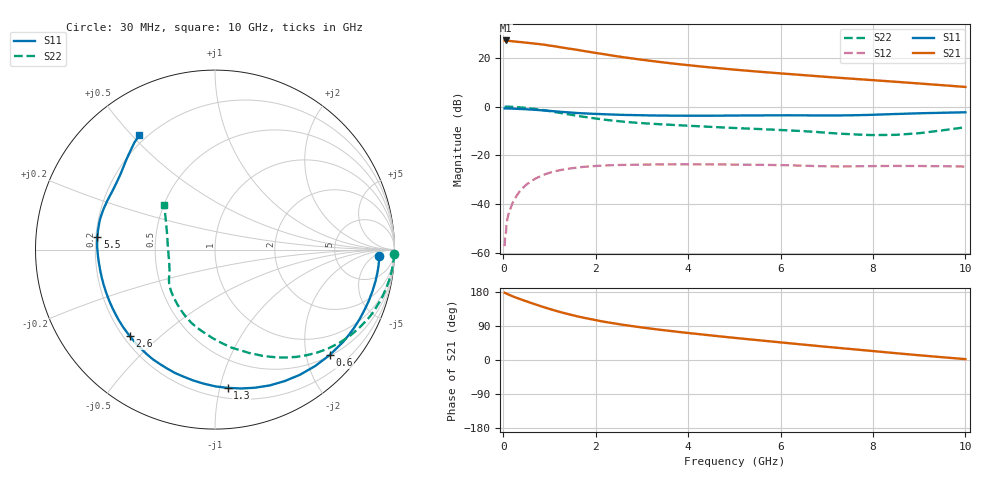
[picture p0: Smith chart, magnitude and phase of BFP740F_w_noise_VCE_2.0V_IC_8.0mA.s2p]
! Infineon Technologies  Discrete & RF Semiconductors
! BFP740F
! VCE =  2.0 V,  IC =  8.0 mA
! Common Emitter S-Parameters:  Oct 2012
# GHz  S  MA  R  50
!  f  S11  S21  S12  S22
! GHz  MAG  ANG  MAG  ANG  MAG  ANG  MAG  ANG
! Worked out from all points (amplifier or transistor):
!   99 points, 30 MHz to 10 GHz, reference 50 ohm
!   highest |S21| = 27.0 dB at 50 MHz (marker M1)
!   |S21| within 3 dB of that: start of sweep to 1.317 GHz
!   unconditionally stable (mu >= 1): 6.911 GHz to end of sweep
!   at 350 MHz: K = 0.07, MSG = 30.6 dB, |S12| = -34.8 dB
!   at 3.5 GHz: K = 0.43, MSG = 20.8 dB, |S12| = -23.7 dB
!   at 10 GHz: K = 1.30, MAG = 13.0 dB, |S12| = -24.5 dB
!   lowest NFmin = 0.42 dB at 450 MHz
!   S11 on the Smith chart (normalised r, x): 30 MHz: 19, -9; 600 MHz: 0.52, -2.47; 1.3 GHz: 0.28, -1.06; 2.6 GHz: 0.23, -0.40; 5.5 GHz: 0.21, +0.05; 10 GHz: 0.17, +0.52
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0.03  0.9168 -2.3  22.23 177.5  0.0014 97.3  0.9966 -1.4
0.05  0.9159 -3.7  22.45 176.5  0.0025 106.1  0.9961 -2.5
0.09  0.9147 -6.8  22.21 174.1  0.0051 86.2  0.9959 -4.6
0.2  0.9074 -14.8  21.6 168.3  0.0106 80.7  0.9852 -10.0
0.3  0.8984 -21.9  21.13 163.6  0.0155 78.2  0.9718 -14.8
0.45  0.8846 -32.4  20.45 157.0  0.023 71.9  0.9468 -21.8
0.6  0.868 -42.6  19.75 150.7  0.0296 65.7  0.9138 -28.6
0.8  0.8427 -55.9  18.83 142.5  0.0375 58.6  0.8639 -37.2
0.9  0.829 -62.1  18.3 138.6  0.0411 55.2  0.8357 -41.4
1.1  0.8013 -73.8  17.13 131.2  0.0469 48.8  0.778 -49.2
1.3  0.7737 -84.8  15.99 124.4  0.0516 43.2  0.7221 -56.3
1.7  0.7291 -103.9  13.89 112.6  0.058 34.0  0.6258 -68.8
2.1  0.7022 -119.6  12.07 102.8  0.0618 26.5  0.5537 -80.4
2.6  0.6763 -134.7  10.21 92.8  0.0641 20.0  0.4916 -91.9
2.9  0.6662 -142.4  9.325 87.5  0.0649 16.9  0.4651 -97.8
3.4  0.6553 -153.2  8.127 79.7  0.0655 12.6  0.4347 -106.1
4.1  0.6502 -165.7  6.862 70.0  0.0657 8.0  0.4014 -115.2
5.1  0.6562 179.2  5.583 57.3  0.0651 2.9  0.3611 -127.5
5.5  0.6594 173.7  5.191 52.5  0.0645 1.1  0.3484 -132.3
6.7  0.6591 157.2  4.241 38.3  0.061 -2.4  0.3055 -147.1
8.5  0.7045 134.4  3.205 17.9  0.0612 -2.7  0.2641 174.8
10  0.7632 123.5  2.517 2.3  0.0594 -4.9  0.3779 138.4
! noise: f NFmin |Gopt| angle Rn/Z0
0.45  0.42  0.27  6  0.19
0.9  0.47  0.27  11  0.15
1.5  0.53  0.26  23  0.11
1.9  0.58  0.26  31  0.1
2.4  0.63  0.25  42  0.09
3.5  0.76  0.22  65  0.1
5.5  0.98  0.13  118  0.12
10  1.43  0.38  -121  0.08
